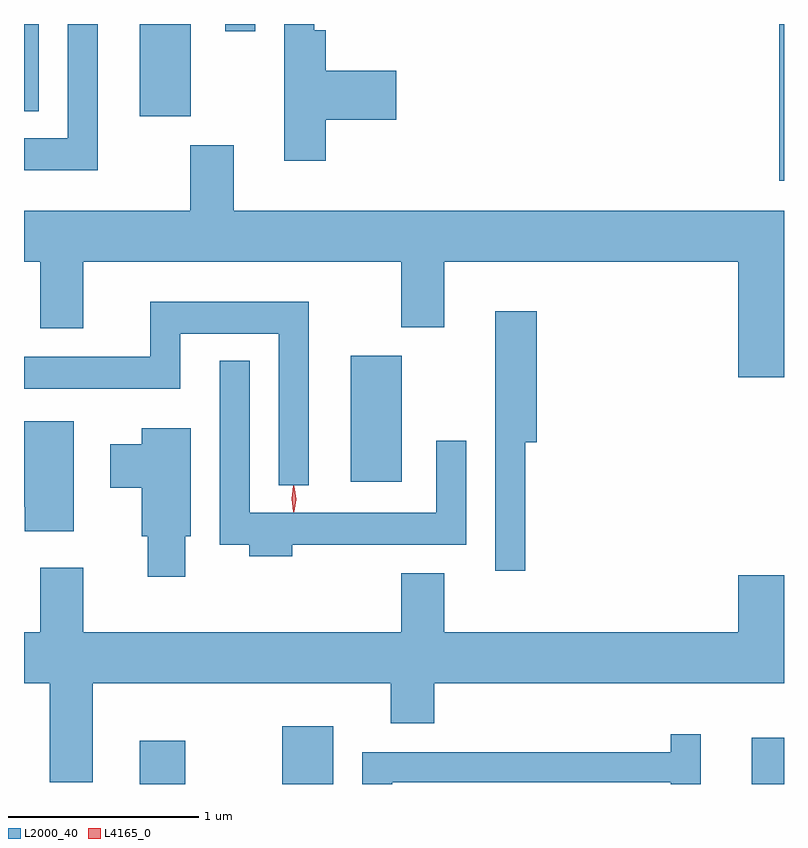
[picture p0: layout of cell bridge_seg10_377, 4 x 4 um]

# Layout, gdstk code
import gdstk
lib = gdstk.Library(unit=1e-6, precision=1e-09)
def R(c, l, rs):  # rectangles x0, y0, x1, y1
    for r in rs: c.add(gdstk.rectangle(r[:2], r[2:], *l))
def P(c, l, *ps):  # polygons
    for p in ps: c.add(gdstk.Polygon(p, *l))
L2000_40 = (2000, 40)
L4165_0 = (4165, 0)

bridge_seg10_377 = lib.new_cell('bridge_seg10_377')
R(bridge_seg10_377, L2000_40, [(1370.766,2142.246,1371.004,2142.474), (1371.516,2142.246,1371.784,2142.549), (1373.986,2142.246,1374.156,2142.489), (1371.876,2143.836,1372.144,2144.499), (1374.131,2145.421,1374.156,2146.246), (1370.766,2145.761,1371.034,2146.246), (1370.156,2145.788,1370.234,2146.246), (1371.216,2146.208,1371.374,2146.246)])
P(bridge_seg10_377, L2000_40, [(1370.544,2146.246),(1370.386,2146.246),(1370.386,2145.644),(1370.156,2145.644),(1370.156,2145.476),(1370.544,2145.476)],
  [(1371.744,2145.741),(1372.114,2145.741),(1372.114,2145.999),(1371.744,2145.999),(1371.744,2146.214),(1371.684,2146.214),(1371.684,2146.246),(1371.526,2146.246),(1371.526,2145.526),(1371.744,2145.526)],
  [(1374.156,2145.264),(1371.259,2145.264),(1371.259,2145.609),(1371.031,2145.609),(1371.031,2145.264),(1370.156,2145.264),(1370.156,2144.996),(1370.241,2144.996),(1370.241,2144.646),(1370.469,2144.646),(1370.469,2144.996),(1372.141,2144.996),(1372.141,2144.651),(1372.369,2144.651),(1372.369,2144.996),(1373.916,2144.996),(1373.916,2144.386),(1374.156,2144.386)],
  [(1371.654,2144.784),(1370.821,2144.784),(1370.821,2144.494),(1370.156,2144.494),(1370.156,2144.326),(1370.979,2144.326),(1370.979,2144.616),(1371.496,2144.616),(1371.496,2143.818),(1371.654,2143.818)],
  [(1372.794,2144.046),(1372.854,2144.046),(1372.854,2144.734),(1372.636,2144.734),(1372.636,2143.368),(1372.794,2143.368)],
  [(1371.569,2143.506),(1372.484,2143.506),(1372.484,2144.053),(1372.326,2144.053),(1372.326,2143.674),(1371.344,2143.674),(1371.344,2144.473),(1371.186,2144.473),(1371.186,2143.506),(1371.341,2143.506),(1371.341,2143.446),(1371.569,2143.446)],
  [(1370.419,2144.154),(1370.156,2144.154),(1370.156,2143.706),(1370.161,2143.706),(1370.161,2143.576),(1370.419,2143.576)],
  [(1371.004,2143.551),(1371.034,2143.551),(1371.034,2144.119),(1370.776,2144.119),(1370.776,2144.034),(1370.611,2144.034),(1370.611,2143.806),(1370.776,2143.806),(1370.776,2143.551),(1370.806,2143.551),(1370.806,2143.336),(1371.004,2143.336)],
  [(1370.519,2142.776),(1372.086,2142.776),(1372.086,2142.566),(1372.314,2142.566),(1372.314,2142.776),(1374.156,2142.776),(1374.156,2143.344),(1373.916,2143.344),(1373.916,2143.044),(1372.369,2143.044),(1372.369,2143.354),(1372.141,2143.354),(1372.141,2143.044),(1370.469,2143.044),(1370.469,2143.384),(1370.241,2143.384),(1370.241,2143.044),(1370.156,2143.044),(1370.156,2142.776),(1370.291,2142.776),(1370.291,2142.256),(1370.519,2142.256)],
  [(1372.094,2142.256),(1373.561,2142.256),(1373.561,2142.246),(1373.719,2142.246),(1373.719,2142.508),(1373.561,2142.508),(1373.561,2142.414),(1371.936,2142.414),(1371.936,2142.246),(1372.094,2142.246)])
P(bridge_seg10_377, L4165_0, [(1371.575,2143.677),(1371.574,2143.678),(1371.565,2143.747),(1371.574,2143.816),(1371.575,2143.816),(1371.575,2143.816),(1371.585,2143.747),(1371.575,2143.678)],
  [(1371.578,2143.68),(1371.578,2143.68),(1371.568,2143.746),(1371.578,2143.813),(1371.578,2143.813),(1371.578,2143.813),(1371.588,2143.746),(1371.578,2143.68)])

lib.write_gds('bridge_seg10_377.gds')
